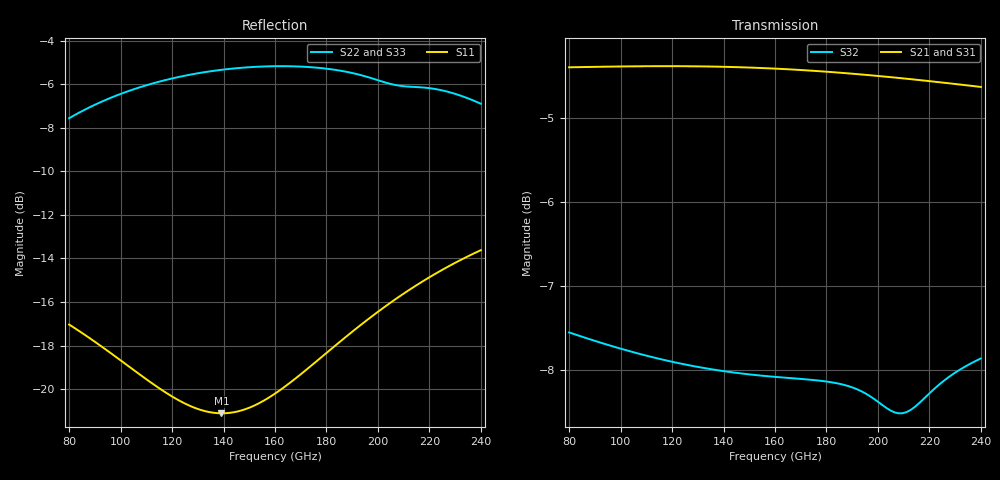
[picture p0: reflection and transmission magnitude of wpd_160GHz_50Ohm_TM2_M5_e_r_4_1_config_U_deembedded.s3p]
! Created with skrf 1.11.0 (http://scikit-rf.org).
# GHz S DB R 50.0
!freq dBS11 angS11 dBS12 angS12 dBS13 angS13
! dBS21 angS21 dBS22 angS22 dBS23 angS23
! dBS31 angS31 dBS32 angS32 dBS33 angS33
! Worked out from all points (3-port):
!   101 points, 80 GHz to 240 GHz, reference 50 ohm
!   strongest paths, dB at 80 GHz, 120 GHz, 160 GHz, 200 GHz, 240 GHz:
!     S21: -4.4, -4.4, -4.4, -4.5, -4.6
!     S31: -4.4, -4.4, -4.4, -4.5, -4.6
!     S32: -7.6, -7.9, -8.1, -8.4, -7.9
!   lowest |S11| = -21.1 dB at 139.2 GHz (marker M1), VSWR 1.19, Z = 42.2 - j2.19 ohm
!   |S11| at or under -10 dB: start of sweep to end of sweep
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80  -17.03 166.6  -4.40 -44.3  -4.40 -44.3
    -4.40 -44.3  -7.56 42.2  -7.55 -95.4
    -4.40 -44.3  -7.55 -95.4  -7.56 42.3
92.8  -18.06 168.2  -4.39 -51.4  -4.40 -51.4
      -4.39 -51.4  -6.79 34.1  -7.68 -109.8
      -4.40 -51.4  -7.68 -109.8  -6.79 34.2
107.2  -19.30 172.9  -4.39 -59.5  -4.39 -59.4
       -4.39 -59.5  -6.15 25.4  -7.81 -125.9
       -4.39 -59.4  -7.81 -125.9  -6.15 25.5
124.8  -20.65 -176.1  -4.39 -69.3  -4.39 -69.3
       -4.39 -69.3  -5.62 15.4  -7.93 -145.4
       -4.39 -69.3  -7.93 -145.4  -5.61 15.5
139.2  -21.11 -163.0  -4.39 -77.5  -4.40 -77.4
       -4.39 -77.5  -5.34 7.4  -8.01 -161.3
       -4.40 -77.4  -8.01 -161.3  -5.34 7.5
160  -20.20 -144.4  -4.42 -89.2  -4.42 -89.2
     -4.42 -89.2  -5.17 -3.9  -8.08 175.7
     -4.42 -89.2  -8.08 175.7  -5.17 -3.8
177.6  -18.58 -134.6  -4.45 -99.2  -4.45 -99.1
       -4.45 -99.2  -5.26 -13.6  -8.13 156.1
       -4.45 -99.1  -8.13 156.1  -5.25 -13.5
195.2  -16.88 -130.4  -4.49 -109.1  -4.49 -109.0
       -4.49 -109.1  -5.64 -23.2  -8.28 136.2
       -4.49 -109.0  -8.28 136.2  -5.64 -23.1
220.8  -14.81 -130.3  -4.57 -123.4  -4.57 -123.3
       -4.57 -123.4  -6.20 -34.7  -8.26 111.5
       -4.57 -123.3  -8.26 111.5  -6.19 -34.5
240  -13.62 -132.9  -4.63 -134.0  -4.64 -133.9
     -4.63 -134.0  -6.90 -47.1  -7.86 89.8
     -4.64 -133.9  -7.86 89.8  -6.89 -46.9
